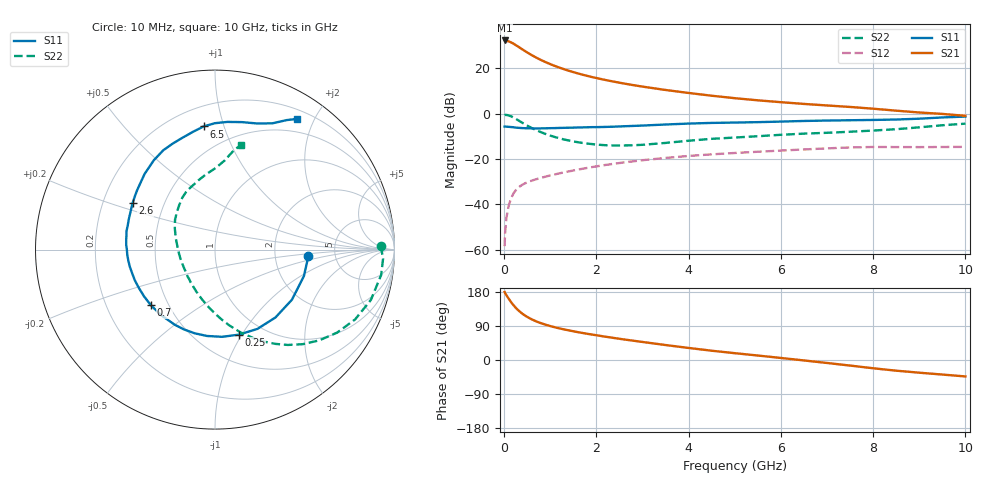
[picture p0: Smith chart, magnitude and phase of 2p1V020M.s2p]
! (c) 2009  Infineon Technologies AG, Munich
! Infineon Technologies  Discrete & RF Semiconductors
! BFP420
! VCE =  1.0 V,  IC =  20 mA
! Common Emitter S-Parameters:  Nov 2009
# GHz  S  MA  R  50
!  f  S11  S21  S12  S22
! GHz  MAG  ANG  MAG  ANG  MAG  ANG  MAG  ANG
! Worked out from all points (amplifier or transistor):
!   46 points, 10 MHz to 10 GHz, reference 50 ohm
!   highest |S21| = 32.2 dB at 10 MHz (marker M1)
!   |S21| within 3 dB of that: start of sweep to 325.2 MHz
!   unconditionally stable (mu >= 1): start of sweep to 10.4 MHz; 1.716 GHz to end of sweep
!   at 300 MHz: K = 0.33, MSG = 31.2 dB, |S12| = -32.8 dB
!   at 1.7 GHz: K = 1.00, MSG = 20.7 dB, |S12| = -24.3 dB
!   at 10 GHz: K = 1.06, MAG = 5.3 dB, |S12| = -14.7 dB
!   lowest NFmin = 1.23 dB at 900 MHz
!   S11 on the Smith chart (normalised r, x): 10 MHz: 3.12, -0.29; 250 MHz: 0.78, -0.97; 700 MHz: 0.40, -0.32; 2.6 GHz: 0.33, +0.23; 6.5 GHz: 0.33, +0.86; 10 GHz: 0.31, +1.77
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0.01  0.5185 -3.8  40.97 179.4  0.0012 97.0  0.9238 1.2
0.02  0.5183 -7.0  40.24 176.5  0.0023 89.9  0.9378 -3.1
0.05  0.5168 -16.6  40.05 170.7  0.0051 85.5  0.9364 -8.7
0.1  0.5116 -33.1  39.08 161.5  0.0095 78.3  0.9127 -17.9
0.15  0.5064 -48.3  37.17 152.8  0.0136 72.7  0.8721 -26.5
0.2  0.5011 -61.8  34.93 145.0  0.0173 67.8  0.8227 -34.2
0.25  0.4921 -74.4  32.43 138.0  0.0204 63.8  0.7706 -41.0
0.35  0.4833 -95.3  27.92 126.6  0.0253 58.1  0.6687 -52.6
0.45  0.4771 -111.3  23.99 117.5  0.029 54.4  0.582 -61.8
0.6  0.4729 -129.5  19.41 107.1  0.0334 51.4  0.4812 -73.0
0.7  0.4728 -138.9  17.07 101.7  0.036 50.5  0.4305 -79.2
0.9  0.4749 -153.2  13.62 93.1  0.0409 49.6  0.3559 -90.1
1.1  0.48 -164.0  11.23 86.4  0.0458 49.3  0.3051 -99.9
1.4  0.4895 -176.4  8.816 78.2  0.0533 48.7  0.256 -114.0
1.7  0.4978 173.6  7.223 71.3  0.061 47.7  0.2261 -127.2
2.6  0.5269 150.7  4.601 54.2  0.0841 42.2  0.1988 -165.0
3.5  0.576 132.9  3.32 39.5  0.1056 34.7  0.2262 164.5
5.5  0.6491 106.2  1.964 11.8  0.1445 16.8  0.3178 128.9
6.5  0.689 95.3  1.636 -1.2  0.1623 7.7  0.3625 115.8
7  0.7041 90.1  1.513 -7.8  0.1715 2.8  0.3782 109.1
8.5  0.7413 71.4  1.162 -28.2  0.1834 -14.2  0.4538 89.7
10  0.8612 57.8  0.894 -43.4  0.1851 -25.1  0.6011 76.2
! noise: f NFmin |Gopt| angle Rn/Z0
0.9  1.23  0.16  -154  0.13
1.8  1.51  0.24  -144  0.13
2.4  1.66  0.22  -141  0.15
3  1.69  0.3  -132  0.16
4  1.82  0.42  -115  0.23
5  2.28  0.48  -96  0.37
6  2.65  0.52  -86  0.56
